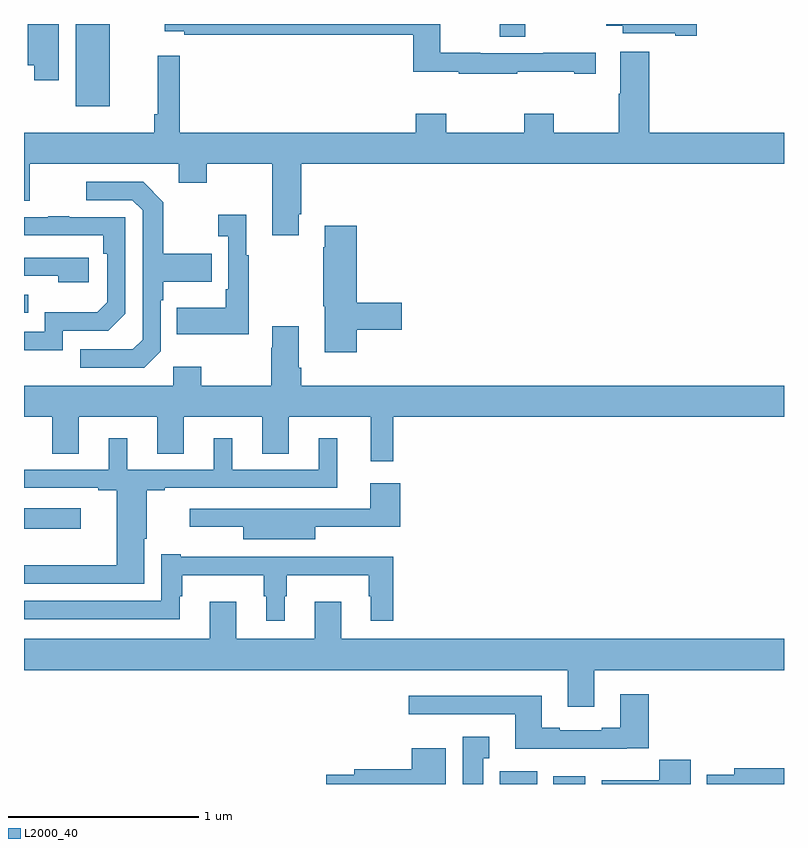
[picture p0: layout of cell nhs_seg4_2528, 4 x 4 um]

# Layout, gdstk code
import gdstk
lib = gdstk.Library(unit=1e-6, precision=1e-09)
def R(c, l, rs):  # rectangles x0, y0, x1, y1
    for r in rs: c.add(gdstk.rectangle(r[:2], r[2:], *l))
def P(c, l, *ps):  # polygons
    for p in ps: c.add(gdstk.Polygon(p, *l))
L2000_40 = (2000, 40)

nhs_seg4_2528 = lib.new_cell('nhs_seg4_2528')
R(nhs_seg4_2528, L2000_40, [(245.504,782.9,245.701,782.968), (245.786,782.9,245.953,782.941), (243,784.244,243.298,784.351), (243,785.379,243.023,785.475), (243.272,786.467,243.451,786.9), (245.504,786.832,245.638,786.9)])
P(nhs_seg4_2528, L2000_40, [(243.184,786.9),(243.02,786.9),(243.02,786.683),(243.055,786.683),(243.055,786.603),(243.184,786.603)],
  [(245.597,786.649),(245.897,786.649),(245.897,786.639),(246.01,786.639),(246.01,786.749),(245.734,786.749),(245.734,786.747),(245.4,786.747),(245.4,786.748),(245.19,786.748),(245.19,786.9),(243.74,786.9),(243.74,786.863),(243.844,786.863),(243.844,786.844),(245.048,786.844),(245.048,786.649),(245.287,786.649),(245.287,786.639),(245.597,786.639)],
  [(246.541,786.9),(246.065,786.9),(246.065,786.89),(246.152,786.89),(246.152,786.851),(246.428,786.851),(246.428,786.839),(246.541,786.839)],
  [(244.447,785.899),(244.46,785.899),(244.46,786.164),(247,786.164),(247,786.328),(246.29,786.328),(246.29,786.754),(246.137,786.754),(246.137,786.533),(246.13,786.533),(246.13,786.328),(245.787,786.328),(245.787,786.427),(245.632,786.427),(245.632,786.328),(245.223,786.328),(245.223,786.427),(245.063,786.427),(245.063,786.328),(243.821,786.328),(243.821,786.733),(243.703,786.733),(243.703,786.424),(243.685,786.424),(243.685,786.328),(243,786.328),(243,785.97),(243.031,785.97),(243.031,786.164),(243.815,786.164),(243.815,786.065),(243.963,786.065),(243.963,786.164),(244.307,786.164),(244.307,785.787),(244.447,785.787)],
  [(243.72,785.178),(243.72,785.447),(243.733,785.447),(243.733,785.543),(243.989,785.543),(243.989,785.691),(243.733,785.691),(243.733,785.963),(243.627,786.069),(243.327,786.069),(243.327,785.973),(243.57,785.973),(243.624,785.919),(243.624,785.238),(243.573,785.187),(243.297,785.187),(243.297,785.091),(243.633,785.091)],
  [(244.183,785.683),(244.171,785.683),(244.171,785.896),(244.023,785.896),(244.023,785.783),(244.074,785.783),(244.074,785.503),(244.062,785.503),(244.062,785.407),(243.805,785.407),(243.805,785.267),(244.183,785.267)],
  [(243.204,785.286),(243.444,785.286),(243.534,785.376),(243.534,785.883),(243.239,785.883),(243.239,785.888),(243.127,785.888),(243.127,785.883),(243,785.883),(243,785.787),(243.418,785.787),(243.418,785.69),(243.438,785.69),(243.438,785.436),(243.385,785.383),(243.108,785.383),(243.108,785.28),(243,785.28),(243,785.184),(243.204,785.184)],
  [(244.751,785.29),(244.987,785.29),(244.987,785.432),(244.751,785.432),(244.751,785.839),(244.583,785.839),(244.583,785.726),(244.576,785.726),(244.576,785.415),(244.583,785.415),(244.583,785.172),(244.751,785.172)],
  [(243.34,785.67),(243,785.67),(243,785.574),(243.179,785.574),(243.179,785.54),(243.34,785.54)],
  [(244.447,785.092),(244.447,785.308),(244.307,785.308),(244.307,785.195),(244.3,785.195),(244.3,784.996),(243.933,784.996),(243.933,785.095),(243.786,785.095),(243.786,784.996),(243,784.996),(243,784.832),(243.149,784.832),(243.149,784.639),(243.289,784.639),(243.289,784.832),(243.701,784.832),(243.701,784.639),(243.841,784.639),(243.841,784.832),(244.253,784.832),(244.253,784.639),(244.393,784.639),(244.393,784.832),(244.826,784.832),(244.826,784.599),(244.943,784.599),(244.943,784.832),(247,784.832),(247,784.996),(244.46,784.996),(244.46,785.092)],
  [(243.634,784.191),(243.646,784.191),(243.646,784.446),(243.742,784.446),(243.742,784.458),(244.649,784.458),(244.649,784.72),(244.55,784.72),(244.55,784.554),(244.096,784.554),(244.096,784.72),(243.998,784.72),(243.998,784.554),(243.544,784.554),(243.544,784.72),(243.446,784.72),(243.446,784.554),(243,784.554),(243,784.458),(243.392,784.458),(243.392,784.446),(243.488,784.446),(243.488,784.052),(243,784.052),(243,783.954),(243.634,783.954)],
  [(244.534,784.253),(244.979,784.253),(244.979,784.483),(244.823,784.483),(244.823,784.35),(243.873,784.35),(243.873,784.253),(244.154,784.253),(244.154,784.187),(244.534,784.187)],
  [(244.372,783.887),(244.384,783.887),(244.384,783.998),(244.815,783.998),(244.815,783.887),(244.826,783.887),(244.826,783.759),(244.943,783.759),(244.943,784.096),(244.63,784.096),(244.63,784.095),(244.058,784.095),(244.058,784.096),(243.826,784.096),(243.826,784.108),(243.723,784.108),(243.723,783.864),(243,783.864),(243,783.768),(243.82,783.768),(243.82,783.887),(243.832,783.887),(243.832,783.998),(244.263,783.998),(244.263,783.887),(244.274,783.887),(244.274,783.759),(244.372,783.759)],
  [(246.001,783.5),(247,783.5),(247,783.664),(244.669,783.664),(244.669,783.859),(244.529,783.859),(244.529,783.664),(244.117,783.664),(244.117,783.859),(243.977,783.859),(243.977,783.664),(243,783.664),(243,783.5),(245.861,783.5),(245.861,783.306),(246.001,783.306)],
  [(246.173,783.087),(246.289,783.087),(246.289,783.373),(246.137,783.373),(246.137,783.196),(246.041,783.196),(246.041,783.183),(245.821,783.183),(245.821,783.196),(245.725,783.196),(245.725,783.364),(245.025,783.364),(245.025,783.267),(245.585,783.267),(245.585,783.086),(246.173,783.086)],
  [(245.416,783.035),(245.449,783.035),(245.449,783.148),(245.309,783.148),(245.309,782.9),(245.416,782.9)],
  [(245.221,783.088),(245.042,783.088),(245.042,782.978),(244.739,782.978),(244.739,782.948),(244.59,782.948),(244.59,782.9),(245.221,782.9)],
  [(246.508,783.028),(246.343,783.028),(246.343,782.92),(246.041,782.92),(246.041,782.9),(246.508,782.9)],
  [(247,782.984),(246.737,782.984),(246.737,782.948),(246.593,782.948),(246.593,782.9),(247,782.9)])

lib.write_gds('nhs_seg4_2528.gds')
